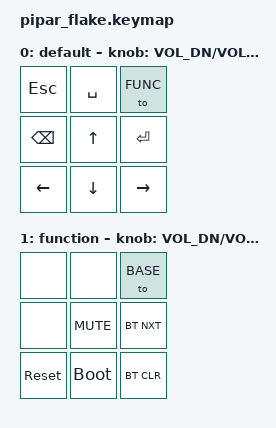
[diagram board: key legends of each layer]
/*
 * Copyright (c) 2022 The ZMK Contributors
 *
 * SPDX-License-Identifier: MIT
 */

#include <behaviors.dtsi>
#include <dt-bindings/zmk/keys.h>
#include <dt-bindings/zmk/bt.h>
#include <dt-bindings/zmk/outputs.h>

#define BASE        0
#define FUNC        1

/ {
    chosen {
        zmk,physical-layout = &physical_layout0;
    };

    keymap {
        compatible = "zmk,keymap";
        /* ... các layer của bạn ... */
    };
};

/ {
  
  sensors: sensors {
    compatible = "zmk,keymap-sensors";
    sensors = <&encoder_1>;
    triggers-per-rotation = <20>;
  };

  keymap {
    compatible = "zmk,keymap";

    default_layer {
        // ---------------------------//
        // | ESC  | SPACE | Layer 2 | //
        // | BSPC | UP    |  ENTER  | //
        // | LEFT | DOWN  | RIGHT   | //
        display-name = "default";
        bindings = <
            &kp ESC  &kp SPACE  &to FUNC
            &kp BSPC &kp UP     &kp ENTER
            &kp LEFT &kp DOWN   &kp RIGHT
        >;

      sensor-bindings = <&inc_dec_kp C_VOL_DN  C_VOL_UP>;
    };

    function_layer {
        // --------------------------- //
        // | none | none | Layer 2 |   //
        // | none | MUTE |  bt_nxt   |   //
        // | reset | boot | bt_clr |   //
        display-name = "function";
        bindings = <
        &none       &none       &to BASE
        &none       &kp C_MUTE  &bt BT_NXT
        &sys_reset  &bootloader &bt BT_CLR
        >;

      sensor-bindings = <&inc_dec_kp C_VOL_DN  C_VOL_UP>;
    };
  };
};
